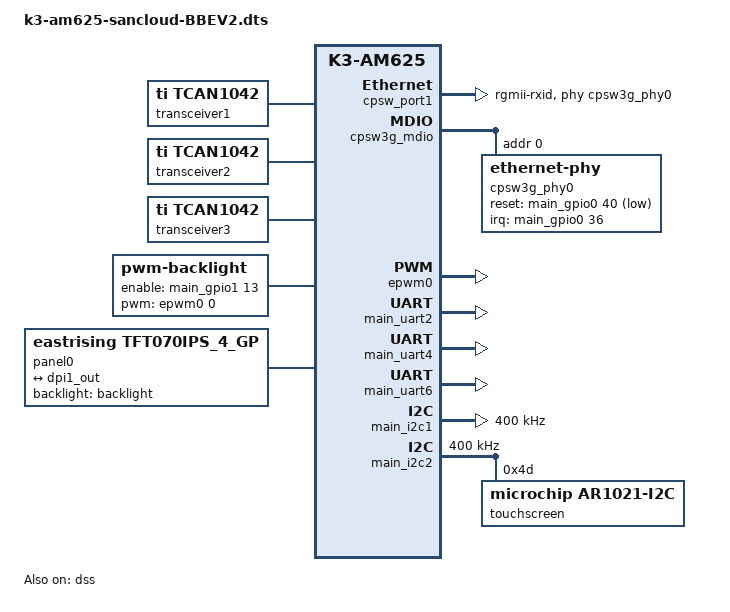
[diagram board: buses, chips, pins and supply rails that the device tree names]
// SPDX-License-Identifier: GPL-2.0
/*
 * https://sancloud.com/
 *
 * Copyright (C) 2022-2023 Texas Instruments Incorporated - https://www.ti.com/
 * Copyright (C) 2022-2023 Marc Murphy, SanCloud Ltd - https://www.sancloud.com/
 */

/dts-v1/;
#include "k3-am625-sancloud-stratus.dtsi"

/ {
	transceiver1: can-phy0 {
		compatible = "ti,tcan1042";
		#phy-cells = <0>;
		max-bitrate = <5000000>;
	};

	transceiver2: can-phy1 {
		compatible = "ti,tcan1042";
		#phy-cells = <0>;
		max-bitrate = <5000000>;
	};

	transceiver3: can-phy2 {
		compatible = "ti,tcan1042";
		#phy-cells = <0>;
		max-bitrate = <5000000>;
	};


	backlight: backlight {
		compatible = "pwm-backlight";
		pinctrl-names = "default";
		pinctrl-0 = <&lcd_pwm_backlight_pins_default>;
		brightness-levels = <0 4 8 16 32 64 128 255>;
		default-brightness-level = <6>;
		enable-gpios = <&main_gpio1 13 GPIO_ACTIVE_HIGH>;
		pwms = <&epwm0 0 20000 0>;
	};


	panel0 {
		compatible = "eastrising,tft070ips_4_gp";
		backlight = <&backlight>;
		
			port {
					lcd_in: endpoint {
						remote-endpoint = <&dpi1_out>; 
					};
			};
	};
};



&{/chosen} {
		base_dtb = "k3-am625-sancloud-BBEV2.dts";
	};

&aliases {
		ethernet0 = &cpsw_port1;
		ethernet1 = &cpsw_port2;
		i2c1 = &main_i2c1;
		i2c2 = &main_i2c2;
		i2c3 = &main_i2c3;
		serial0 = &wkup_uart0;
		serial1 = &mcu_uart0;
		rs1 = &main_uart2;
		rs2 = &main_uart4;
		rs3 = &main_uart6;
	};



&main_pmx0 {
	dss0_pins_default: dss0-pins-default {
		pinctrl-single,pins = <
			AM62X_IOPAD(0x0100, PIN_OUTPUT, 0) /* (AC25) VOUT0_VSYNC */
			AM62X_IOPAD(0x00f8, PIN_OUTPUT, 0) /* (AB24) VOUT0_HSYNC */
			AM62X_IOPAD(0x0104, PIN_OUTPUT, 0) /* (AC24) VOUT0_PCLK */
			AM62X_IOPAD(0x00fc, PIN_OUTPUT, 0) /* (Y20) VOUT0_DE */
			/* BLUE */
			AM62X_IOPAD(0x00b8, PIN_OUTPUT, 0) /* (U22) VOUT0_DATA0 */
			AM62X_IOPAD(0x00bc, PIN_OUTPUT, 0) /* (V24) VOUT0_DATA1 */
			AM62X_IOPAD(0x00c0, PIN_OUTPUT, 0) /* (W25) VOUT0_DATA2 */
			AM62X_IOPAD(0x00c4, PIN_OUTPUT, 0) /* (W24) VOUT0_DATA3 */
			AM62X_IOPAD(0x00c8, PIN_OUTPUT, 0) /* (Y25) VOUT0_DATA4 */
			AM62X_IOPAD(0x00cc, PIN_OUTPUT, 0) /* (Y24) VOUT0_DATA5 */
			AM62X_IOPAD(0x00d0, PIN_OUTPUT, 0) /* (Y23) VOUT0_DATA6 */
			AM62X_IOPAD(0x00d4, PIN_OUTPUT, 0) /* (AA25) VOUT0_DATA7 */
			/* GREEN */
			AM62X_IOPAD(0x00d8, PIN_OUTPUT, 0) /* (V21) VOUT0_DATA8 */
			AM62X_IOPAD(0x00dc, PIN_OUTPUT, 0) /* (W21) VOUT0_DATA9 */
			AM62X_IOPAD(0x00e0, PIN_OUTPUT, 0) /* (V20) VOUT0_DATA10 */
			AM62X_IOPAD(0x00e4, PIN_OUTPUT, 0) /* (AA23) VOUT0_DATA11 */
			AM62X_IOPAD(0x00e8, PIN_OUTPUT, 0) /* (AB25) VOUT0_DATA12 */
			AM62X_IOPAD(0x00ec, PIN_OUTPUT, 0) /* (AA24) VOUT0_DATA13 */
			AM62X_IOPAD(0x00f0, PIN_OUTPUT, 0) /* (Y22) VOUT0_DATA14 */
			AM62X_IOPAD(0x00f4, PIN_OUTPUT, 0) /* (AA21) VOUT0_DATA15 */
			/*RED*/
			AM62X_IOPAD(0x005c, PIN_OUTPUT, 1) /* (R24) GPMC0_AD8.VOUT0_DATA16 */
			AM62X_IOPAD(0x0060, PIN_OUTPUT, 1) /* (R25) GPMC0_AD9.VOUT0_DATA17 */
			AM62X_IOPAD(0x0064, PIN_OUTPUT, 1) /* (T25) GPMC0_AD10.VOUT0_DATA18 */
			AM62X_IOPAD(0x0068, PIN_OUTPUT, 1) /* (R21) GPMC0_AD11.VOUT0_DATA19 */
			AM62X_IOPAD(0x006c, PIN_OUTPUT, 1) /* (T22) GPMC0_AD12.VOUT0_DATA20 */
			AM62X_IOPAD(0x0070, PIN_OUTPUT, 1) /* (T24) GPMC0_AD13.VOUT0_DATA21 */
			AM62X_IOPAD(0x0074, PIN_OUTPUT, 1) /* (U25) GPMC0_AD14.VOUT0_DATA22 */
			AM62X_IOPAD(0x0078, PIN_OUTPUT, 1) /* (U24) GPMC0_AD15.VOUT0_DATA23 */
		>;
	};

	gpio0_pins_default: gpio0-pins-default {
		pinctrl-single,pins = <
			//AM62X_IOPAD(0x00a4, PIN_INPUT_PULLDOWN, 7) /* (M22) GPMC0_DIR.GPIO0_40 */ /* TS_IRQ */
		>;
	};

	gpio1_pins_default: gpio1-pins-default {
		pinctrl-single,pins = <
			AM62X_IOPAD(0x0194, PIN_OUTPUT_PULLDOWN, 7)	/* (E18) MCASP0_AXR3.GPIO1_7*/  /* RELAY EN 4 */
			AM62X_IOPAD(0x0198, PIN_OUTPUT_PULLDOWN, 7)	/* (E18) MCASP0_AXR2.GPIO1_8*/  /* RELAY EN 3 */
			AM62X_IOPAD(0x019c, PIN_OUTPUT_PULLDOWN, 7)	/* (E18) MCASP0_AXR1.GPIO1_9*/  /* RELAY EN 2 */
			AM62X_IOPAD(0x01a0, PIN_OUTPUT_PULLDOWN, 7)	/* (E18) MCASP0_AXR0.GPIO1_10*/ /* RELAY EN 1 */ 
			// AM62X_IOPAD(0x01ac, PIN_OUTPUT_PULLUP, 7)	/* (E19) MCASP0_AFSR.GPIO1_13*/ /* BACKLIGHT_EN */ 
			AM62X_IOPAD(0x01b4, PIN_OUTPUT_PULLDOWN, 7)	/* (A13) SPI0_CS0.GPIO1_15*/ 	/* UART2 TRS */ 
			AM62X_IOPAD(0x01bc, PIN_OUTPUT_PULLDOWN, 7)	/* (A14) SPI0_CLK.GPIO1_17*/ 	/* UART6 TRS */ 
		>;
	};

	local_i2c1_pins_default: local-i2c1-pins-default {
		pinctrl-single,pins = <
			AM62X_IOPAD(0x01e8, PIN_INPUT_PULLUP, 0) /* (B17) I2C1_SCL */
			AM62X_IOPAD(0x01ec, PIN_INPUT_PULLUP, 0) /* (A17) I2C1_SDA */
		>;
	};

	local_i2c2_pins_default: local-i2c2-pins-default {
		pinctrl-single,pins = <
			AM62X_IOPAD(0x00b0, PIN_INPUT_PULLUP, 1) /* (K22) GPMC0_CSn2.I2C2_SCL */
			AM62X_IOPAD(0x00b4, PIN_INPUT_PULLUP, 1) /* (K24) GPMC0_CSn3.I2C2_SDA */
		>;
	};

	mdio0_pins_default: mdio0-pins-default {
		pinctrl-single,pins = <
			// AM62X_IOPAD(0x0160, PIN_OUTPUT, 7) /* (AD24) MDIO0_MDC.GPIO0_86 */
			// AM62X_IOPAD(0x015c, PIN_INPUT, 7) /* (AB22) MDIO0_MDIO.GPIO0_85 */
			AM62X_IOPAD(0x0160, PIN_OUTPUT, 0) /* (AD24) MDIO0_MDC */
			AM62X_IOPAD(0x015c, PIN_INPUT, 0) /* (AB22) MDIO0_MDIO */
		>;
	};

	rgmii1_pins_default: rgmii1-pins-default {
		pinctrl-single,pins = <
			AM62X_IOPAD(0x014c, PIN_INPUT, 0) /* (AB17) RGMII1_RD0 */
			AM62X_IOPAD(0x0150, PIN_INPUT, 0) /* (AC17) RGMII1_RD1 */
			AM62X_IOPAD(0x0154, PIN_INPUT, 0) /* (AB16) RGMII1_RD2 */
			AM62X_IOPAD(0x0158, PIN_INPUT, 0) /* (AA15) RGMII1_RD3 */
			AM62X_IOPAD(0x0148, PIN_INPUT, 0) /* (AD17) RGMII1_RXC */
			AM62X_IOPAD(0x0144, PIN_INPUT, 0) /* (AE17) RGMII1_RX_CTL */
			AM62X_IOPAD(0x0134, PIN_OUTPUT, 0) /* (AE20) RGMII1_TD0 */
			AM62X_IOPAD(0x0138, PIN_OUTPUT, 0) /* (AD20) RGMII1_TD1 */
			AM62X_IOPAD(0x013c, PIN_OUTPUT, 0) /* (AE18) RGMII1_TD2 */
			AM62X_IOPAD(0x0140, PIN_OUTPUT, 0) /* (AD18) RGMII1_TD3 */
			AM62X_IOPAD(0x0130, PIN_OUTPUT, 0) /* (AE19) RGMII1_TXC */
			AM62X_IOPAD(0x012c, PIN_OUTPUT, 0) /* (AD19) RGMII1_TX_CTL */
			// AM62X_IOPAD(0x0038, PIN_OUTPUT_PULLUP, 7) /* (E24) OSPI0_CSn3.GPIO0_14 */ /* ETH_RESETn */
			// AM62X_IOPAD(0x0004, PIN_INPUT_PULLUP, 7) /* (G25) OSPI0_LBCLKO.GPIO0_1 */
			AM62X_IOPAD(0x0094, PIN_INPUT, 7) /* (N20) GPMC0_DIR.GPIO0_36 */
			AM62X_IOPAD(0x00a4, PIN_OUTPUT, 7) /* (M22) GPMC0_DIR.GPIO0_40 */ /* ETH_RESETn */
		>;
	};

	rgmii2_pins_default: rgmii2-pins-default {
		pinctrl-single,pins = <
			AM62X_IOPAD(0x184, PIN_INPUT, 0) /* (AE23) RGMII2_RD0 */
			AM62X_IOPAD(0x188, PIN_INPUT, 0) /* (AB20) RGMII2_RD1 */
			AM62X_IOPAD(0x18c, PIN_INPUT, 0) /* (AC21) RGMII2_RD2 */
			AM62X_IOPAD(0x190, PIN_INPUT, 0) /* (AE22) RGMII2_RD3 */
			AM62X_IOPAD(0x180, PIN_INPUT, 0) /* (AD23) RGMII2_RXC */
			AM62X_IOPAD(0x17c, PIN_INPUT, 0) /* (AD22) RGMII2_RX_CTL */
			AM62X_IOPAD(0x16c, PIN_OUTPUT, 0) /* (Y18) RGMII2_TD0 */
			AM62X_IOPAD(0x170, PIN_OUTPUT, 0) /* (AA18) RGMII2_TD1 */
			AM62X_IOPAD(0x174, PIN_OUTPUT, 0) /* (AD21) RGMII2_TD2 */
			AM62X_IOPAD(0x178, PIN_OUTPUT, 0) /* (AC20) RGMII2_TD3 */
			AM62X_IOPAD(0x168, PIN_OUTPUT, 0) /* (AE21) RGMII2_TXC */
			AM62X_IOPAD(0x164, PIN_OUTPUT, 0) /* (AA19) RGMII2_TX_CTL */
			AM62X_IOPAD(0x0034, PIN_OUTPUT, 7) /* (H21) OSPI0_CSn2.GPIO0_13 */
			AM62X_IOPAD(0x0008, PIN_INPUT_PULLUP, 7) /* (J24) OSPI0_DQS.GPIO1_16 */
		>;
	};

	lcd_pwm_backlight_pins_default: lcd-pwm-backlight-pins-default {
		pinctrl-single,pins = <
			AM62X_IOPAD(0x01ac, PIN_OUTPUT, 6)	/* (E19) MCASP0_AFSR.EHRPWM0_A*/ /* BACKLIGHT_EN */ 
		>;
	};

	uart2_pins_default: uart2-pins-default {
		pinctrl-single,pins = <
			AM62X_IOPAD(0x01d0, PIN_INPUT, 3) /* (A15) UART2_RXD */
			AM62X_IOPAD(0x01d4, PIN_OUTPUT, 3) /* (B15) UART2_TXD */
			AM62X_IOPAD(0x01c0, PIN_OUTPUT, 7) /* (B13) SPI0_D0.GPIO1_18 */
		>;
	};

	uart4_pins_default: uart4-pins-default {
		pinctrl-single,pins = <
			AM62X_IOPAD(0x0124, PIN_INPUT, 3) /* (A23) UART4_RXD */
			AM62X_IOPAD(0x0128, PIN_OUTPUT, 3) /* (B23) UART4_TXD */
			AM62X_IOPAD(0x01b8, PIN_OUTPUT, 7) /* (C13) SPI0_CS1.GPIO1_16 */
		>;
	};

	uart6_pins_default: uart6-pins-default {
		pinctrl-single,pins = <
			AM62X_IOPAD(0x009c, PIN_INPUT, 3) /* (V25) UART6_RXD */
			AM62X_IOPAD(0x00a0, PIN_OUTPUT, 3) /* (K25) UART6_TXD */
			AM62X_IOPAD(0x01c4, PIN_OUTPUT, 7) /* (B14) SPI0_D1.GPIO1_19 */
		>;
	};
};


/* cbass_main */
/* cbass_wkup */
/* NETWORK */

&cpsw3g {
	pinctrl-names = "default";
	pinctrl-0 = <&rgmii1_pins_default>, <&rgmii2_pins_default>;
	assigned-clocks = <&k3_clks 157 70>, <&k3_clks 157 20>;
	assigned-clock-parents = <&k3_clks 157 72>, <&k3_clks 157 22>;
};

&cpsw_port1 {
	status = "okay";
	phy-mode = "rgmii-rxid";
	phy-handle = <&cpsw3g_phy0>;
};

&cpsw_port2 {
	status = "disabled";
};

&cpsw3g_mdio {
	status = "okay";
	pinctrl-names = "default";
	pinctrl-0 = <&mdio0_pins_default>;

	cpsw3g_phy0: ethernet-phy@0 {
		reg = <0>;
		interrupt-parent = <&main_gpio0>;
		interrupts = <36 IRQ_TYPE_EDGE_FALLING>;
		reset-assert-us = <10000>;
		reset-deassert-us = <50000>;
		reset-gpios = <&main_gpio0 40 GPIO_ACTIVE_LOW>;
	};

};

/* GPIO */
&main_gpio0 {
	pinctrl-names = "default";
	pinctrl-0 = < 	&gpio0_pins_stratus
					&gpio0_pins_default>;
	gpio-line-names = "", "PHY0_IRQ", "PHY1_IRQ", "", "", "", "", "",	/* 0-7 */
		"", "", "", "", "NOR_PWR_EN", "PHY1_RST", "PHY0_RST",			/* 8-14 */
		"", "", "", "", "", "", "LSM6D_IRQ",		/* 15-21 */
		"", "",	/* 22-23 */
		"", "",	/* 24-25 */
		"", "", "", "", "", "SW_CTL", "", "", "", "", "", "",	/* 26-37 */
		"", "", "TS_IRQ", "", "", "", "", "", "", "",		/* 38-47 */
		"", "", "", "";			/* 48-51 */
};

&main_gpio1 {
	pinctrl-names = "default";
	pinctrl-0 = <&gpio1_pins_default>;
	gpio-line-names = "", "", "", "", "", "", "", "RELAY4_EN",	/* 0-7 */
		"RELAY3_EN", "RELAY2_EN", "RELAY1_EN", "", "", "", "",			/* 8-14 */
		"RS1_TRS", "", "RS2_TRS", "", "", "", "",		/* 15-21 */
		"", "",	/* 22-23 */
		"", "",	/* 24-25 */
		"", "", "", "", "", "", "", "", "", "", "", "",	/* 26-37 */
		"", "", "", "", "", "", "", "", "", "",		/* 38-47 */
		"", "", "", "";			/* 48-51 */
};

&mcu_gpio0 {
	gpio-line-names = "", "", "", "",			/* 0-3 */
		"", "", "", "",					/* 4-7 */
		"", "", "", "",					/* 8-11 */
		"", "", "", "",					/* 12-15 */
		"", "", "", "",	/* 16-19 */
		"", "", "", "";					/* 20-23 */
};

/* I2C */
/* SDIO (EMMC/SD) */
&epwm0{
	status = "okay";	
};

&main_uart1 {
	/* Main UART1 is used by TIFS firmware */
	status = "reserved";
};


&main_uart2 {
	bootph-all;
	pinctrl-names = "default";
	pinctrl-0 = <&uart2_pins_default>;
	status = "okay";
	rts-gpio = <&main_gpio1 18 GPIO_ACTIVE_HIGH>;
	rs485-rts-active-high;
	rs485-rts-delay = <0 0>;
	linux,rs485-enabled-at-boot-time;
};


&main_uart4 {
	bootph-all;
	pinctrl-names = "default";
	pinctrl-0 = <&uart4_pins_default>;
	status = "okay";
	rts-gpio = <&main_gpio1 16 GPIO_ACTIVE_HIGH>;
	rs485-rts-active-high;
	rs485-rts-delay = <0 0>;
	linux,rs485-enabled-at-boot-time;
};

&main_uart6 {
	bootph-all;
	pinctrl-names = "default";
	pinctrl-0 = <&uart6_pins_default>;
	status = "okay";
	rts-gpio = <&main_gpio1 19 GPIO_ACTIVE_HIGH>;
	rs485-rts-active-high;
	rs485-rts-delay = <0 0>;
	linux,rs485-enabled-at-boot-time;
};

/* RS485 BOARD DETECT */
&main_i2c1 {
	pinctrl-names = "default";
	pinctrl-0 = <&local_i2c1_pins_default>;
	clock-frequency = <400000>;
	status = "okay";

};

/* RELAY BOARD DETECT */
&main_i2c2 {
	pinctrl-names = "default";
	pinctrl-0 = <&local_i2c2_pins_default>;
	clock-frequency = <400000>;
	status = "okay"; 

	touchscreen: touchscreen@4d {
		compatible = "microchip,ar1021-i2c";
		reg = <0x4d>;
		// interrupt-parent = <&main_gpio0>;
		// interrupts = <40 IRQ_TYPE_EDGE_RISING>;
		touchscreen-size-x=<800>;
		touchscreen-size-y=<480>;
		touchscreen-inverted-y;
	};
};

/* DISPLAY SUB SYSTEM (LCD) */

&dss {
	status = "okay";
	pinctrl-names = "default";
	pinctrl-0 = <&dss0_pins_default>;
};

&dss_ports {
	#address-cells = <1>;
	#size-cells = <0>;

	/* VP2: DPI Output */
	port@1 {
		reg = <1>;

		dpi1_out: endpoint {
			remote-endpoint = <&lcd_in>;
		};
	};
};

